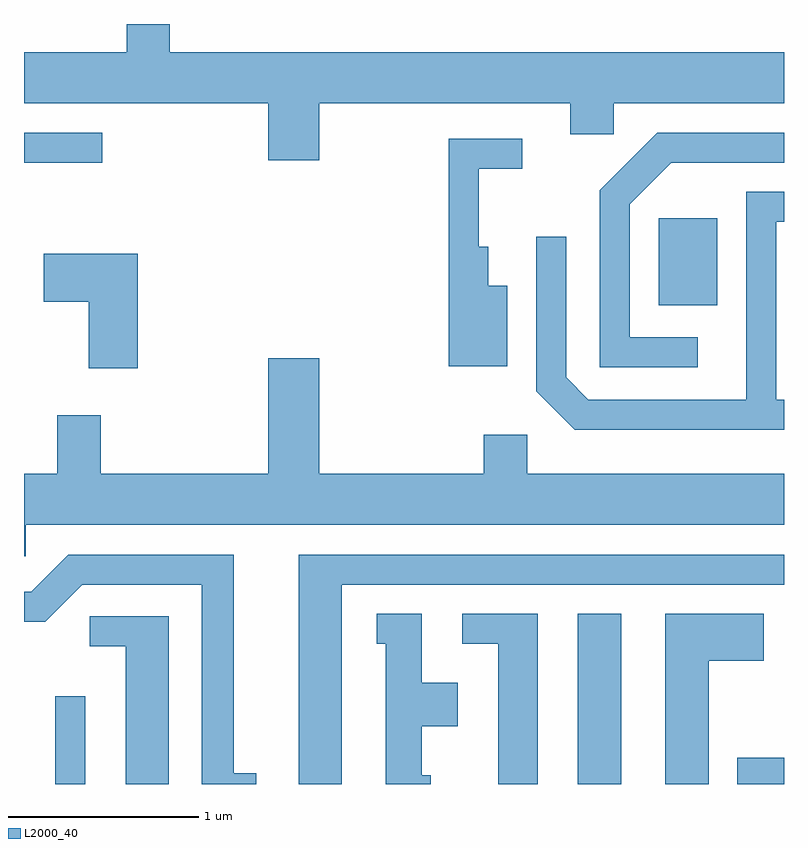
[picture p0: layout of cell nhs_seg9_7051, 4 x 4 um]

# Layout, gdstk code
import gdstk
lib = gdstk.Library(unit=1e-6, precision=1e-09)
def R(c, l, rs):  # rectangles x0, y0, x1, y1
    for r in rs: c.add(gdstk.rectangle(r[:2], r[2:], *l))
def P(c, l, *ps):  # polygons
    for p in ps: c.add(gdstk.Polygon(p, *l))
L2000_40 = (2000, 40)

nhs_seg9_7051 = lib.new_cell('nhs_seg9_7051')
R(nhs_seg9_7051, L2000_40, [(393.776,2010.432,393.934,2010.893), (396.526,2010.432,396.754,2011.329), (397.366,2010.432,397.611,2010.569), (396.951,2012.951,397.259,2013.409), (393.611,2013.701,394.023,2013.859)])
P(nhs_seg9_7051, L2000_40, [(395.164,2014.016),(396.486,2014.016),(396.486,2013.851),(396.714,2013.851),(396.714,2014.016),(397.611,2014.016),(397.611,2014.284),(394.379,2014.284),(394.379,2014.432),(394.151,2014.432),(394.151,2014.284),(393.611,2014.284),(393.611,2014.016),(394.896,2014.016),(394.896,2013.716),(395.164,2013.716)],
  [(397.158,2012.784),(396.799,2012.784),(396.799,2013.484),(397.017,2013.701),(397.611,2013.701),(397.611,2013.859),(396.944,2013.859),(396.641,2013.557),(396.641,2012.626),(397.158,2012.626)],
  [(396.154,2013.054),(396.054,2013.054),(396.054,2013.259),(396.004,2013.259),(396.004,2013.671),(396.233,2013.671),(396.233,2013.829),(395.846,2013.829),(395.846,2012.631),(396.154,2012.631)],
  [(397.611,2012.454),(397.569,2012.454),(397.569,2013.391),(397.611,2013.391),(397.611,2013.549),(397.411,2013.549),(397.411,2012.454),(396.582,2012.454),(396.464,2012.572),(396.464,2013.313),(396.306,2013.313),(396.306,2012.499),(396.509,2012.296),(397.611,2012.296)],
  [(394.209,2013.224),(393.716,2013.224),(393.716,2012.971),(393.951,2012.971),(393.951,2012.621),(394.209,2012.621)],
  [(393.619,2011.796),(397.611,2011.796),(397.611,2012.064),(396.259,2012.064),(396.259,2012.269),(396.031,2012.269),(396.031,2012.064),(395.164,2012.064),(395.164,2012.674),(394.896,2012.674),(394.896,2012.064),(394.014,2012.064),(394.014,2012.374),(393.786,2012.374),(393.786,2012.064),(393.611,2012.064),(393.611,2011.631),(393.619,2011.631)],
  [(394.833,2010.489),(394.714,2010.489),(394.714,2011.639),(393.844,2011.639),(393.649,2011.444),(393.611,2011.444),(393.611,2011.286),(393.722,2011.286),(393.917,2011.481),(394.546,2011.481),(394.546,2010.432),(394.833,2010.432)],
  [(395.284,2011.481),(397.611,2011.481),(397.611,2011.639),(395.056,2011.639),(395.056,2010.432),(395.284,2010.432)],
  [(396.314,2011.329),(395.918,2011.329),(395.918,2011.171),(396.106,2011.171),(396.106,2010.432),(396.314,2010.432)],
  [(395.753,2010.479),(395.704,2010.479),(395.704,2010.736),(395.894,2010.736),(395.894,2010.964),(395.704,2010.964),(395.704,2011.329),(395.468,2011.329),(395.468,2011.171),(395.516,2011.171),(395.516,2010.432),(395.753,2010.432)],
  [(397.214,2011.081),(397.504,2011.081),(397.504,2011.329),(396.986,2011.329),(396.986,2010.432),(397.214,2010.432)],
  [(394.374,2011.314),(393.958,2011.314),(393.958,2011.156),(394.146,2011.156),(394.146,2010.432),(394.374,2010.432)])

lib.write_gds('nhs_seg9_7051.gds')
